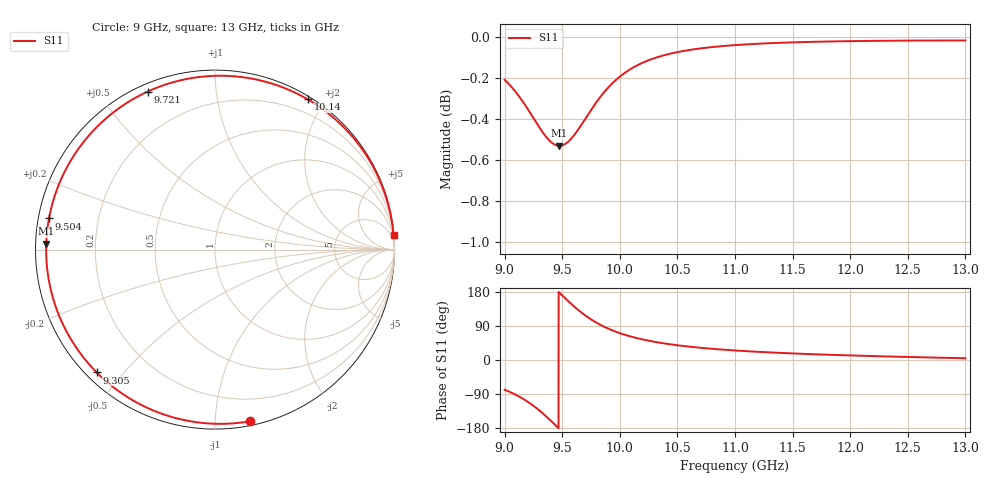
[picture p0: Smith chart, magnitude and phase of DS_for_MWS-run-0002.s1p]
! TOUCHSTONE file generated by CST DESIGN STUDIO
! Date and time: Tue Feb  4 12:54:56 2025
! Project name: C:\Work\MatlabApps\UnitCellOptimizationMatlab\CST\unitcell.cst
! Tree item: Tasks\Sweep1\SPara1\S-Parameters
! Header version: 2024
! Port assignment regex: !\s*Touchstone port\s*([0-9]+)\s*=\s*(CST MWS port|CST DES external port|CST DES block port)\s*(.+)\s* \(\"(.*)\"\)(\s*mode\s*([0-9]+))?.*
! Touchstone port assignment:
! Touchstone port 1 = CST DES external port 1 ("")
# GHz S MA R 50
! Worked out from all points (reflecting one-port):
!   4001 points, 9 GHz to 13 GHz, reference 50 ohm
!   lowest |S11| = -0.5 dB at 9.475 GHz (marker M1), VSWR 32.77, Z = 1.53 + j0.867 ohm
!   phase of S11 starts at -78 deg and turns -277 deg over the sweep
!   S11 on the Smith chart (normalised r, x): 9 GHz: 0.03, -1.22; 9.305 GHz: 0.03, -0.42; 9.504 GHz: 0.03, +0.09; 9.721 GHz: 0.03, +0.66; 10.14 GHz: 0.03, +1.79; 13 GHz: 1, +25
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9  0.9762 -78.4
9.076  0.9711 -88.6
9.173  0.963 -104.8
9.241  0.9564 -118.8
9.305  0.9502 -133.9
9.35  0.9463 -145.8
9.397  0.943 -159.0
9.437  0.9413 -170.7
9.475  0.9408 178.0
9.5  0.941 170.6
9.504  0.9411 169.4
9.556  0.9431 154.3
9.616  0.9474 137.9
9.668  0.9521 124.9
9.721  0.9571 113.1
9.777  0.9623 102.1
9.839  0.9675 91.6
9.918  0.9732 80.4
10  0.9779 70.9
10.141  0.9838 58.3
10.303  0.9881 47.9
10.5  0.9914 38.9
10.722  0.9936 31.6
11  0.9953 25.1
11.5  0.9968 17.3
12  0.9975 12.0
12.5  0.9978 8.0
13  0.9979 4.6
